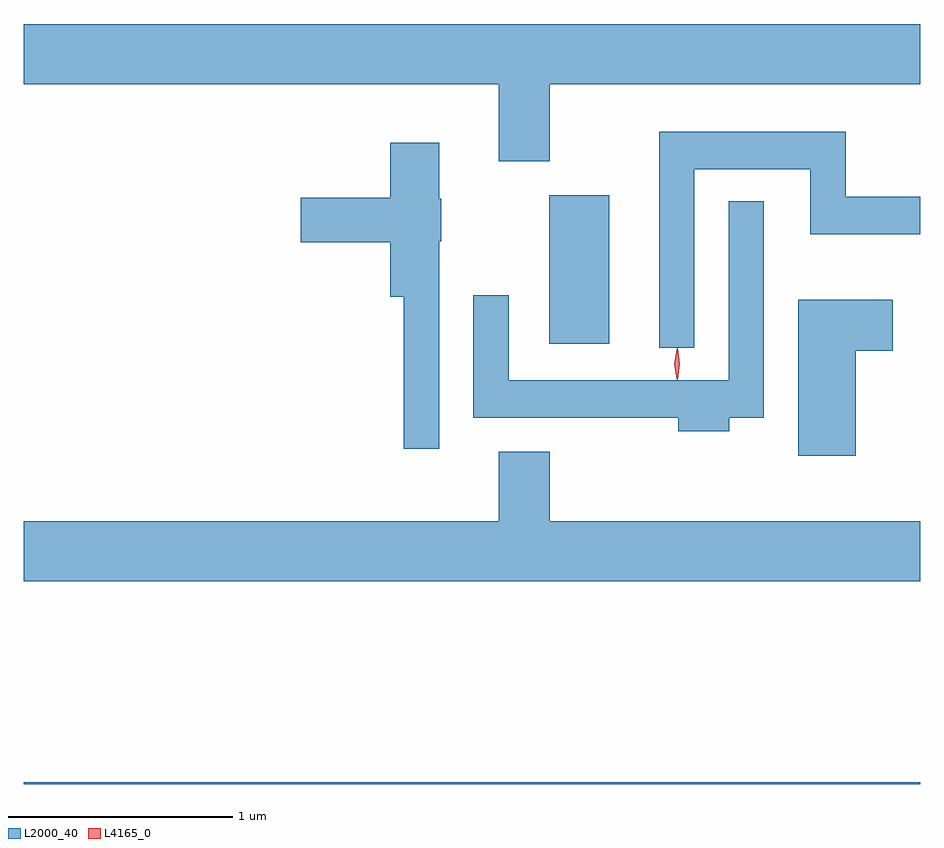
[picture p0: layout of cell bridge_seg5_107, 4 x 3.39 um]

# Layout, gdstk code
import gdstk
lib = gdstk.Library(unit=1e-6, precision=1e-09)
def R(c, l, rs):  # rectangles x0, y0, x1, y1
    for r in rs: c.add(gdstk.rectangle(r[:2], r[2:], *l))
def P(c, l, *ps):  # polygons
    for p in ps: c.add(gdstk.Polygon(p, *l))
L2000_40 = (2000, 40)
L4165_0 = (4165, 0)

bridge_seg5_107 = lib.new_cell('bridge_seg5_107')
R(bridge_seg5_107, L2000_40, [(1149.761,1520.272,1153.761,1520.279), (1152.106,1522.236,1152.374,1522.899)])
P(bridge_seg5_107, L2000_40, [(1152.109,1523.396),(1153.761,1523.396),(1153.761,1523.664),(1149.761,1523.664),(1149.761,1523.396),(1151.881,1523.396),(1151.881,1523.051),(1152.109,1523.051)],
  [(1152.754,1523.016),(1153.271,1523.016),(1153.271,1522.726),(1153.761,1522.726),(1153.761,1522.894),(1153.429,1522.894),(1153.429,1523.184),(1152.596,1523.184),(1152.596,1522.218),(1152.754,1522.218)],
  [(1151.614,1522.695),(1151.624,1522.695),(1151.624,1522.885),(1151.614,1522.885),(1151.614,1523.134),(1151.396,1523.134),(1151.396,1522.889),(1150.996,1522.889),(1150.996,1522.691),(1151.396,1522.691),(1151.396,1522.446),(1151.456,1522.446),(1151.456,1521.768),(1151.614,1521.768)],
  [(1152.909,1521.906),(1153.064,1521.906),(1153.064,1522.873),(1152.906,1522.873),(1152.906,1522.074),(1151.924,1522.074),(1151.924,1522.453),(1151.766,1522.453),(1151.766,1521.906),(1152.681,1521.906),(1152.681,1521.846),(1152.909,1521.846)],
  [(1153.474,1522.206),(1153.639,1522.206),(1153.639,1522.434),(1153.216,1522.434),(1153.216,1521.736),(1153.474,1521.736)],
  [(1153.761,1521.444),(1152.109,1521.444),(1152.109,1521.754),(1151.881,1521.754),(1151.881,1521.444),(1149.761,1521.444),(1149.761,1521.176),(1153.761,1521.176)])
P(bridge_seg5_107, L4165_0, [(1152.679,1522.077),(1152.678,1522.078),(1152.668,1522.147),(1152.678,1522.216),(1152.678,1522.216),(1152.679,1522.216),(1152.688,1522.147),(1152.679,1522.078)],
  [(1152.674,1522.079),(1152.674,1522.08),(1152.664,1522.146),(1152.674,1522.212),(1152.674,1522.213),(1152.675,1522.212),(1152.684,1522.146),(1152.675,1522.08)])

lib.write_gds('bridge_seg5_107.gds')
